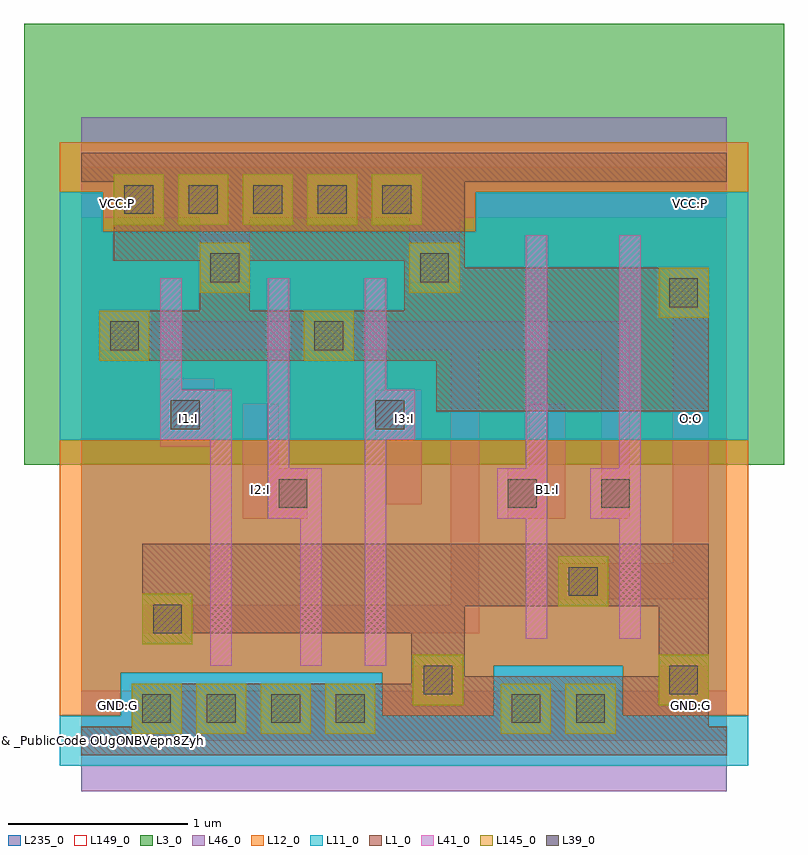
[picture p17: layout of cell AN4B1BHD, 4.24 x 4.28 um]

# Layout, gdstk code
from math import pi, radians
import gdstk
lib = gdstk.Library(unit=1e-6, precision=1e-09)
def R(c, l, rs):  # rectangles x0, y0, x1, y1
    for r in rs: c.add(gdstk.rectangle(r[:2], r[2:], *l))
def P(c, l, *ps):  # polygons
    for p in ps: c.add(gdstk.Polygon(p, *l))
L1_0 = (1, 0)
L3_0 = (3, 0)
L11_0 = (11, 0)
L12_0 = (12, 0)
L39_0 = (39, 0)
L41_0 = (41, 0)
L46_0 = (46, 0)
L145_0 = (145, 0)
L149_0 = (149, 0)
L235_0 = (235, 0)

c_pc = lib.new_cell('PC')
R(c_pc, L39_0, [(-0.08,-0.08,0.08,0.08)])
R(c_pc, L41_0, [(-0.14,-0.14,0.14,0.14)])
R(c_pc, L46_0, [(-0.08,-0.14,0.08,0.14)])

c_mc = lib.new_cell('MC')
R(c_mc, L39_0, [(-0.08,-0.08,0.08,0.08)])
R(c_mc, L46_0, [(-0.08,-0.14,0.08,0.14)])
R(c_mc, L145_0, [(-0.14,-0.14,0.14,0.14)])

ohlenmgfbij__41gum4xw0 = lib.new_cell('OHLENMGFBIJ$$41Gum4XW0')
R(ohlenmgfbij__41gum4xw0, L1_0, [(0,-0.08,3.6,0.08), (2.14,0.08,3.22,0.36), (0.1,2.12,0.66,2.4), (0,3.12,3.6,3.28)])
P(ohlenmgfbij__41gum4xw0, L1_0, [(3.5,1.1),(1.84,1.1),(1.84,0.32),(0.28,0.32),(0.28,0.08),(2.14,0.08),(2.14,0.75),(3.22,0.75),(3.22,0.08),(3.5,0.08)],
  [(1.84,1.1),(0.34,1.1),(0.34,0.54),(0.62,0.54),(0.62,0.6),(1.84,0.6)],
  [(3.5,2.64),(2.14,2.64),(2.14,3.12),(1.8,3.12),(1.8,2.4),(0.94,2.4),(0.94,2.68),(1.8,2.68),(1.8,3.12),(0.18,3.12),(0.18,2.68),(0.66,2.68),(0.66,2.12),(1.98,2.12),(1.98,1.84),(3.5,1.84)])
R(ohlenmgfbij__41gum4xw0, L3_0, [(-0.32,1.54,3.92,4)])
R(ohlenmgfbij__41gum4xw0, L11_0, [(-0.12,-0.14,3.72,0.14), (0.22,0.14,1.68,0.38), (2.3,0.14,3.02,0.42)])
P(ohlenmgfbij__41gum4xw0, L11_0, [(3.72,3.06),(2.2,3.06),(2.2,2.84),(0.12,2.84),(0.12,3.06),(-0.12,3.06),(-0.12,1.68),(3.72,1.68)])
P(ohlenmgfbij__41gum4xw0, L12_0, [(3.72,1.68),(-0.12,1.68),(-0.12,0.14),(0.22,0.14),(0.22,0.38),(1.68,0.38),(1.68,0.14),(2.3,0.14),(2.3,0.42),(3.02,0.42),(3.02,0.14),(3.72,0.14)],
  [(3.72,3.34),(-0.12,3.34),(-0.12,3.06),(0.12,3.06),(0.12,2.84),(2.2,2.84),(2.2,3.06),(3.72,3.06)])
R(ohlenmgfbij__41gum4xw0, L46_0, [(0.44,1.64,0.74,2.02), (0.1,2.18,0.38,2.4), (0.66,2.56,0.94,2.92), (1.83,2.56,2.11,2.92)])
R(ohlenmgfbij__41gum4xw0, L149_0, [(0,0,3.6,3.2)])
R(ohlenmgfbij__41gum4xw0, L235_0, [(0,0,3.6,3.2), (0,0,3.6,3.2), (0,0,3.6,3.2), (0,0,3.6,3.2), (0,0,3.6,3.2), (0,0,3.6,3.2), (0,0,3.6,3.2), (0,0,3.6,3.2), (0,0,3.6,3.2), (0,0,3.6,3.2), (0,0,3.6,3.2), (0,0,3.6,3.2)])
ohlenmgfbij__41gum4xw0.add(gdstk.FlexPath([(0,0),(3.6,0)], 0.56, ends="flush", simple_path=True, layer=46, datatype=0))  # L46_0
ohlenmgfbij__41gum4xw0.add(gdstk.FlexPath([(0,3.2),(3.6,3.2)], 0.56, ends="flush", simple_path=True, layer=46, datatype=0))  # L46_0
ohlenmgfbij__41gum4xw0.add(gdstk.FlexPath([(2.14,2.26),(2.98,2.26),(2.98,1.24)], 0.16, ends="flush", simple_path=True, layer=46, datatype=0))  # L46_0
ohlenmgfbij__41gum4xw0.add(gdstk.FlexPath([(2.6,1.24),(2.6,1.88)], 0.2, ends="flush", simple_path=True, layer=46, datatype=0))  # L46_0
ohlenmgfbij__41gum4xw0.add(gdstk.FlexPath([(1.8,1.32),(1.8,1.96)], 0.2, ends="flush", simple_path=True, layer=46, datatype=0))  # L46_0
ohlenmgfbij__41gum4xw0.add(gdstk.FlexPath([(1,1.24),(1,1.88)], 0.2, ends="flush", simple_path=True, layer=46, datatype=0))  # L46_0
ohlenmgfbij__41gum4xw0.add(gdstk.FlexPath([(0.6,1.64),(0.6,2.02)], 0.2, ends="flush", simple_path=True, layer=46, datatype=0))  # L46_0
ohlenmgfbij__41gum4xw0.add(gdstk.FlexPath([(3.4,2.64),(3.4,0.89),(2.66,0.89)], 0.2, ends="flush", simple_path=True, layer=46, datatype=0))  # L46_0
ohlenmgfbij__41gum4xw0.add(gdstk.FlexPath([(0.1,2.26),(2.14,2.26),(2.14,0.68),(0.34,0.68)], 0.16, ends="flush", simple_path=True, layer=46, datatype=0))  # L46_0
ohlenmgfbij__41gum4xw0.add(gdstk.FlexPath([(0.6,0),(0.6,3.2)], 0, ends="flush", simple_path=True, layer=145, datatype=0))  # L145_0
ohlenmgfbij__41gum4xw0.add(gdstk.FlexPath([(1,0),(1,3.2)], 0, ends="flush", simple_path=True, layer=145, datatype=0))  # L145_0
ohlenmgfbij__41gum4xw0.add(gdstk.FlexPath([(1.4,0),(1.4,3.2)], 0, ends="flush", simple_path=True, layer=145, datatype=0))  # L145_0
ohlenmgfbij__41gum4xw0.add(gdstk.FlexPath([(1.8,0),(1.8,3.2)], 0, ends="flush", simple_path=True, layer=145, datatype=0))  # L145_0
ohlenmgfbij__41gum4xw0.add(gdstk.FlexPath([(2.2,0),(2.2,3.2)], 0, ends="flush", simple_path=True, layer=145, datatype=0))  # L145_0
ohlenmgfbij__41gum4xw0.add(gdstk.FlexPath([(2.6,0),(2.6,3.2)], 0, ends="flush", simple_path=True, layer=145, datatype=0))  # L145_0
ohlenmgfbij__41gum4xw0.add(gdstk.FlexPath([(3,0),(3,3.2)], 0, ends="flush", simple_path=True, layer=145, datatype=0))  # L145_0
ohlenmgfbij__41gum4xw0.add(gdstk.FlexPath([(3.4,0),(3.4,3.2)], 0, ends="flush", simple_path=True, layer=145, datatype=0))  # L145_0
ohlenmgfbij__41gum4xw0.add(gdstk.FlexPath([(0.2,0),(0.2,3.2)], 0, ends="flush", simple_path=True, layer=145, datatype=0))  # L145_0
ohlenmgfbij__41gum4xw0.add(gdstk.FlexPath([(0,3),(3.6,3)], 0, ends="flush", simple_path=True, layer=145, datatype=0))  # L145_0
ohlenmgfbij__41gum4xw0.add(gdstk.FlexPath([(0,0.2),(3.6,0.2)], 0, ends="flush", simple_path=True, layer=145, datatype=0))  # L145_0
ohlenmgfbij__41gum4xw0.add(gdstk.FlexPath([(0,0.6),(3.6,0.6)], 0, ends="flush", simple_path=True, layer=145, datatype=0))  # L145_0
ohlenmgfbij__41gum4xw0.add(gdstk.FlexPath([(0,1),(3.6,1)], 0, ends="flush", simple_path=True, layer=145, datatype=0))  # L145_0
ohlenmgfbij__41gum4xw0.add(gdstk.FlexPath([(0,1.4),(3.6,1.4)], 0, ends="flush", simple_path=True, layer=145, datatype=0))  # L145_0
ohlenmgfbij__41gum4xw0.add(gdstk.FlexPath([(0,1.8),(3.6,1.8)], 0, ends="flush", simple_path=True, layer=145, datatype=0))  # L145_0
ohlenmgfbij__41gum4xw0.add(gdstk.FlexPath([(0,2.2),(3.6,2.2)], 0, ends="flush", simple_path=True, layer=145, datatype=0))  # L145_0
ohlenmgfbij__41gum4xw0.add(gdstk.FlexPath([(0,2.6),(3.6,2.6)], 0, ends="flush", simple_path=True, layer=145, datatype=0))  # L145_0
ohlenmgfbij__41gum4xw0.add(gdstk.FlexPath([(1.64,0.42),(1.64,2.58)], 0.12, ends="flush", simple_path=True, layer=41, datatype=0))  # L41_0
ohlenmgfbij__41gum4xw0.add(gdstk.FlexPath([(1.1,2.58),(1.1,1.46),(1.28,1.46),(1.28,0.42)], 0.12, ends="flush", simple_path=True, layer=41, datatype=0))  # L41_0
ohlenmgfbij__41gum4xw0.add(gdstk.FlexPath([(0.5,2.58),(0.5,1.9),(0.78,1.9),(0.78,0.42)], 0.12, ends="flush", simple_path=True, layer=41, datatype=0))  # L41_0
ohlenmgfbij__41gum4xw0.add(gdstk.FlexPath([(2.54,0.57),(2.54,2.82)], 0.12, ends="flush", simple_path=True, layer=41, datatype=0))  # L41_0
ohlenmgfbij__41gum4xw0.add(gdstk.FlexPath([(3.06,0.57),(3.06,2.82)], 0.12, ends="flush", simple_path=True, layer=41, datatype=0))  # L41_0
r = gdstk.Reference(c_pc, (1.18,1.38)); r.repetition = gdstk.Repetition(1, 1, v1=(0.28,0), v2=(0,0.32)); ohlenmgfbij__41gum4xw0.add(r)
r = gdstk.Reference(c_pc, (2.98,1.38)); r.repetition = gdstk.Repetition(1, 1, v1=(0.28,0), v2=(0,0.32)); ohlenmgfbij__41gum4xw0.add(r)
r = gdstk.Reference(c_pc, (0.58,1.82)); r.repetition = gdstk.Repetition(1, 1, v1=(0.28,0), v2=(0,0.32)); ohlenmgfbij__41gum4xw0.add(r)
r = gdstk.Reference(c_pc, (2.46,1.38)); r.repetition = gdstk.Repetition(1, 1, v1=(0.28,0), v2=(0,0.32)); ohlenmgfbij__41gum4xw0.add(r)
r = gdstk.Reference(c_pc, (1.72,1.82)); r.repetition = gdstk.Repetition(1, 1, v1=(0.28,0), v2=(0,0.32)); ohlenmgfbij__41gum4xw0.add(r)
r = gdstk.Reference(c_mc, (3.36,2.5)); r.repetition = gdstk.Repetition(1, 1, v1=(0.28,0), v2=(0,0.32)); ohlenmgfbij__41gum4xw0.add(r)
r = gdstk.Reference(c_mc, (1.76,3.02), rotation=pi/2); r.repetition = gdstk.Repetition(1, 1, v1=(0,0.28), v2=(-0.32,0)); ohlenmgfbij__41gum4xw0.add(r)
r = gdstk.Reference(c_mc, (1.4,3.02), rotation=pi/2); r.repetition = gdstk.Repetition(1, 1, v1=(0,0.28), v2=(-0.32,0)); ohlenmgfbij__41gum4xw0.add(r)
r = gdstk.Reference(c_mc, (0.48,0.68), rotation=pi/2); r.repetition = gdstk.Repetition(1, 1, v1=(0,0.28), v2=(-0.32,0)); ohlenmgfbij__41gum4xw0.add(r)
r = gdstk.Reference(c_mc, (2.8,0.89), rotation=pi/2); r.repetition = gdstk.Repetition(1, 1, v1=(0,0.28), v2=(-0.32,0)); ohlenmgfbij__41gum4xw0.add(r)
r = gdstk.Reference(c_mc, (0.42,0.18), rotation=pi/2); r.repetition = gdstk.Repetition(1, 1, v1=(0,0.28), v2=(-0.32,0)); ohlenmgfbij__41gum4xw0.add(r)
r = gdstk.Reference(c_mc, (1.99,0.34), rotation=pi/2); r.repetition = gdstk.Repetition(1, 1, v1=(0,0.28), v2=(-0.32,0)); ohlenmgfbij__41gum4xw0.add(r)
r = gdstk.Reference(c_mc, (1.97,2.64), rotation=pi/2); r.repetition = gdstk.Repetition(1, 1, v1=(0,0.28), v2=(-0.32,0)); ohlenmgfbij__41gum4xw0.add(r)
r = gdstk.Reference(c_mc, (0.24,2.26), rotation=pi/2); r.repetition = gdstk.Repetition(1, 1, v1=(0,0.28), v2=(-0.32,0)); ohlenmgfbij__41gum4xw0.add(r)
r = gdstk.Reference(c_mc, (0.8,2.64), rotation=pi/2); r.repetition = gdstk.Repetition(1, 1, v1=(0,0.28), v2=(-0.32,0)); ohlenmgfbij__41gum4xw0.add(r)
r = gdstk.Reference(c_mc, (0.32,3.02), rotation=pi/2); r.repetition = gdstk.Repetition(1, 1, v1=(0,0.28), v2=(-0.32,0)); ohlenmgfbij__41gum4xw0.add(r)
r = gdstk.Reference(c_mc, (1.14,0.18), rotation=pi/2); r.repetition = gdstk.Repetition(1, 1, v1=(0,0.28), v2=(-0.32,0)); ohlenmgfbij__41gum4xw0.add(r)
r = gdstk.Reference(c_mc, (1.5,0.18), rotation=pi/2); r.repetition = gdstk.Repetition(1, 1, v1=(0,0.28), v2=(-0.32,0)); ohlenmgfbij__41gum4xw0.add(r)
r = gdstk.Reference(c_mc, (0.78,0.18), rotation=pi/2); r.repetition = gdstk.Repetition(1, 1, v1=(0,0.28), v2=(-0.32,0)); ohlenmgfbij__41gum4xw0.add(r)
r = gdstk.Reference(c_mc, (0.68,3.02), rotation=pi/2); r.repetition = gdstk.Repetition(1, 1, v1=(0,0.28), v2=(-0.32,0)); ohlenmgfbij__41gum4xw0.add(r)
r = gdstk.Reference(c_mc, (2.48,0.18), rotation=pi/2, x_reflection=True); r.repetition = gdstk.Repetition(1, 1, v1=(0,0.28), v2=(0.32,0)); ohlenmgfbij__41gum4xw0.add(r)
r = gdstk.Reference(c_mc, (3.36,0.34), rotation=pi/2); r.repetition = gdstk.Repetition(1, 1, v1=(0,0.28), v2=(-0.32,0)); ohlenmgfbij__41gum4xw0.add(r)
r = gdstk.Reference(c_mc, (2.84,0.18), rotation=pi/2, x_reflection=True); r.repetition = gdstk.Repetition(1, 1, v1=(0,0.28), v2=(0.32,0)); ohlenmgfbij__41gum4xw0.add(r)
r = gdstk.Reference(c_mc, (1.38,2.26), rotation=pi/2); r.repetition = gdstk.Repetition(1, 1, v1=(0,0.28), v2=(-0.32,0)); ohlenmgfbij__41gum4xw0.add(r)
r = gdstk.Reference(c_mc, (1.04,3.02), rotation=pi/2); r.repetition = gdstk.Repetition(1, 1, v1=(0,0.28), v2=(-0.32,0)); ohlenmgfbij__41gum4xw0.add(r)
ohlenmgfbij__41gum4xw0.add(gdstk.Label('#Id:7JQJaQKD4XF6RXVVbbbPNLABMd91ZL2aK99JL0306AKC574O4A3EOSP8MXXWHY99T6WBH22210RAL9', (0.02,0.02), layer=147, texttype=0))
ohlenmgfbij__41gum4xw0.add(gdstk.Label('AN4B1BHD', (0,0), layer=144, texttype=0))
ohlenmgfbij__41gum4xw0.add(gdstk.Label('GND:G', (3.4,0.2), layer=101, texttype=0))
ohlenmgfbij__41gum4xw0.add(gdstk.Label('VCC:P', (0.2,3), layer=101, texttype=0))
ohlenmgfbij__41gum4xw0.add(gdstk.Label('VCC:P', (3.4,3), layer=101, texttype=0))
ohlenmgfbij__41gum4xw0.add(gdstk.Label('GND:G', (0.2,0.2), layer=101, texttype=0))
ohlenmgfbij__41gum4xw0.add(gdstk.Label('B1:I', (2.6,1.4), layer=101, texttype=0))
ohlenmgfbij__41gum4xw0.add(gdstk.Label('I1:I', (0.6,1.8), layer=101, texttype=0))
ohlenmgfbij__41gum4xw0.add(gdstk.Label('O:O', (3.4,1.8), layer=101, texttype=0))
ohlenmgfbij__41gum4xw0.add(gdstk.Label('I3:I', (1.8,1.8), layer=101, texttype=0))
ohlenmgfbij__41gum4xw0.add(gdstk.Label('I2:I', (1,1.4), layer=101, texttype=0))

an4b1bhd = lib.new_cell('AN4B1BHD')
R(an4b1bhd, L149_0, [(0,0,3.6,3.2)])
an4b1bhd.add(gdstk.Reference(ohlenmgfbij__41gum4xw0, (0,0)))
an4b1bhd.add(gdstk.Label('& _PublicCode OUgONBVepn8Zyhuhb7nzKSFGv0ozQ4p7', (0,0), layer=3, texttype=0))
an4b1bhd.add(gdstk.Label('& Metric 11.52', (0,0), layer=3, texttype=0))
an4b1bhd.add(gdstk.Label('& Version 2009Q1V3.0', (0,0), layer=3, texttype=0))
an4b1bhd.add(gdstk.Label('& Product FSC0H_D_GENERIC_CORE', (0,0), layer=3, texttype=0))
an4b1bhd.add(gdstk.Label('& Vendor Faraday_Technology_Corp.', (0,0), layer=3, texttype=0))
an4b1bhd.add(gdstk.Label('#Id:7JQJaQKD4XF6RXVVbbbPNLABMd91ZL2aK99JL0306AKC574O4A3EOSP8MXXWHY99T6WBH22210RAL9', (0.02,0.02), layer=147, texttype=0))
an4b1bhd.add(gdstk.Label('AN4B1BHD', (0,0), layer=144, texttype=0))
an4b1bhd.add(gdstk.Label('GND:G', (3.4,0.2), layer=101, texttype=0))
an4b1bhd.add(gdstk.Label('VCC:P', (0.2,3), layer=101, texttype=0))
an4b1bhd.add(gdstk.Label('VCC:P', (3.4,3), layer=101, texttype=0))
an4b1bhd.add(gdstk.Label('GND:G', (0.2,0.2), layer=101, texttype=0))
an4b1bhd.add(gdstk.Label('B1:I', (2.6,1.4), layer=101, texttype=0))
an4b1bhd.add(gdstk.Label('I1:I', (0.6,1.8), layer=101, texttype=0))
an4b1bhd.add(gdstk.Label('O:O', (3.4,1.8), layer=101, texttype=0))
an4b1bhd.add(gdstk.Label('I3:I', (1.8,1.8), layer=101, texttype=0))
an4b1bhd.add(gdstk.Label('I2:I', (1,1.4), layer=101, texttype=0))

lib.write_gds('AN4B1BHD.gds')
